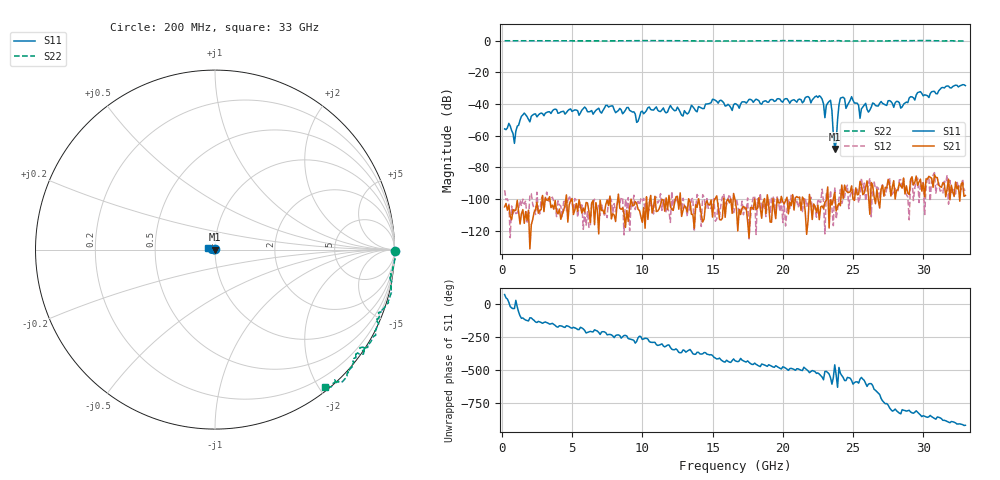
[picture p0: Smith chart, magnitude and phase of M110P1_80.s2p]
# GHZ S RI R 50
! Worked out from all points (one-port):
!   329 points, 200 MHz to 33 GHz, reference 50 ohm
!   lowest |S11| = -68.4 dB at 23.7 GHz (marker M1), VSWR 1.00, Z = 50 - j0.0373 ohm
!   |S11| at or under -10 dB: start of sweep to end of sweep
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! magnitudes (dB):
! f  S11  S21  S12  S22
! 200 MHz  -55.7  -104.9  -94.4  0.0
! 500 MHz  -52.2  -104.0  -103.0  0.0
! 900 MHz  -64.9  -107.5  -106.7  0.0
! 1.6 GHz  -45.7  -115.4  -103.2  0.0
! 5.7 GHz  -43.8  -108.9  -103.7  -0.1
! 9 GHz  -42.2  -114.1  -99.1  0.0
! 9.6 GHz  -51.6  -102.8  -102.9  0.1
! 11.2 GHz  -44.6  -106.2  -101.0  0.1
! 16.6 GHz  -39.7  -100.3  -105.1  -0.2
! 22.1 GHz  -37.4  -112.9  -105.7  0.0
! 22.7 GHz  -35.5  -105.0  -102.1  -0.1
! 23 GHz  -48.6  -102.1  -122.1  0.0
! 23.4 GHz  -37.6  -100.5  -94.7  -0.2
! 23.7 GHz  -68.4  -95.8  -92.7  0.0
! 24.1 GHz  -36.3  -104.3  -94.0  0.0
! 24.5 GHz  -42.7  -94.8  -93.1  -0.2
! 24.9 GHz  -35.3  -91.7  -95.9  -0.2
! 25.5 GHz  -49.0  -88.8  -99.0  -0.2
! 25.9 GHz  -39.5  -92.8  -101.2  -0.2
! 27.6 GHz  -37.8  -90.6  -86.5  0.0
! 28.4 GHz  -42.6  -91.8  -87.8  0.0
! 33 GHz  -28.3  -97.8  -94.4  -0.1
